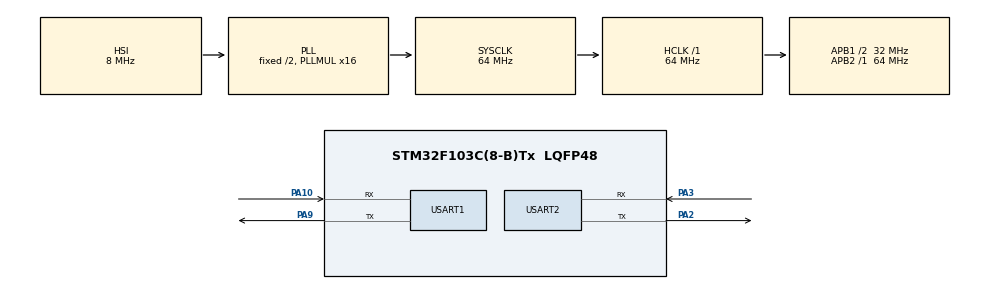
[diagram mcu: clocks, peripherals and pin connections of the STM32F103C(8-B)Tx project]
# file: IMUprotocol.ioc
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Mcu.Family=STM32F1
Mcu.Name=STM32F103C(8-B)Tx
Mcu.Package=LQFP48
NVIC.PriorityGroup=NVIC_PRIORITYGROUP_4
NVIC.TIM1_UP_IRQn=true\:0\:0\:false\:false\:true\:true\:true\:true
NVIC.USART1_IRQn=true\:2\:0\:true\:false\:true\:true\:true\:true
NVIC.USART2_IRQn=true\:1\:0\:true\:false\:true\:true\:true\:true
PA10.Mode=Asynchronous
PA10.Signal=USART1_RX
PA13.Mode=Serial_Wire
PA13.Signal=SYS_JTMS-SWDIO
PA14.Mode=Serial_Wire
PA14.Signal=SYS_JTCK-SWCLK
PA2.Mode=Asynchronous
PA2.Signal=USART2_TX
PA3.Mode=Asynchronous
PA3.Signal=USART2_RX
PA9.Mode=Asynchronous
PA9.Signal=USART1_TX
PD0-OSC_IN.Mode=HSE-External-Oscillator
PD0-OSC_IN.Signal=RCC_OSC_IN
PD1-OSC_OUT.Mode=HSE-External-Oscillator
PD1-OSC_OUT.Signal=RCC_OSC_OUT
ProjectManager.HeapSize=0x200
ProjectManager.StackSize=0x400
ProjectManager.TargetToolchain=MDK-ARM V5.32
RCC.AHBFreq_Value=64000000
RCC.APB1CLKDivider=RCC_HCLK_DIV2
RCC.APB1Freq_Value=32000000
RCC.APB1TimFreq_Value=64000000
RCC.APB2Freq_Value=64000000
RCC.APB2TimFreq_Value=64000000
RCC.HCLKFreq_Value=64000000
RCC.PLLMUL=RCC_PLL_MUL16
RCC.SYSCLKFreq_VALUE=64000000
RCC.SYSCLKSource=RCC_SYSCLKSOURCE_PLLCLK
RCC.USBFreq_Value=64000000
TIM1.Period=9999
TIM1.Prescaler=6399
USART1.VirtualMode=VM_ASYNC
USART2.VirtualMode=VM_ASYNC
VP_TIM1_VS_ClockSourceINT.Mode=Internal
board=custom

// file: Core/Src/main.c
/* USER CODE BEGIN Header */
/**
  ******************************************************************************
  * @file           : main.c
  * @brief          : Main program body
  ******************************************************************************
  * @attention
  *
  * Copyright (c) 2024 STMicroelectronics.
  * All rights reserved.
  *
  * This software is licensed under terms that can be found in the LICENSE file
  * in the root directory of this software component.
  * If no LICENSE file comes with this software, it is provided AS-IS.
  *
  ******************************************************************************
  */
/* USER CODE END Header */
#include "main.h"

/* USER CODE BEGIN Includes */
#include <string.h>
#include "string.h"
#include "stdio.h"
#include "IMU.h"
/* USER CODE END Includes */

TIM_HandleTypeDef htim1;

UART_HandleTypeDef huart1;
UART_HandleTypeDef huart2;

void SystemClock_Config(void);
static void MX_GPIO_Init(void);
static void MX_USART1_UART_Init(void);
static void MX_USART2_UART_Init(void);
static void MX_TIM1_Init(void);

/* USER CODE BEGIN 0 */

#define DATA_LENGTH 33
#define START_BYTE 0x55

uint8_t dataRx;
uint8_t dataBuffer[DATA_LENGTH];
uint8_t index = 0;
extern float axisAcc[3];
extern float axisAngVel[3];
extern float axisAng[3];

volatile uint8_t uartReadyToSend = 0;
char uartDataToSend[256];

void sendUART(const char* data) {
    strncpy(uartDataToSend, data, sizeof(uartDataToSend) - 1);
    uartDataToSend[sizeof(uartDataToSend) - 1] = '\0';
    uartReadyToSend = 1;
}

void sendCommandSequence() {
    uint8_t unlock[] = {0xFF, 0xAA, 0x69, 0x88, 0xB5};
    uint8_t command[] = {0xFF, 0xAA, 0x01, 0x04, 0x00};
    uint8_t save[] = {0xFF, 0xAA, 0x00, 0x00, 0x00};

    // Step 1: Unlock
    HAL_UART_Transmit(&huart1, unlock, sizeof(unlock), 100);

    // Step 2: Send the command
    HAL_UART_Transmit(&huart1, command, sizeof(command), 100);

    // Step 3: Save
    HAL_UART_Transmit(&huart1, save, sizeof(save), 100);
}

// Nhan 33 byte, gom 11x3 byte cua gia toc, van toc goc va goc
void HAL_UART_RxCpltCallback(UART_HandleTypeDef *huart)
{
    // Chi nhan tin hieu tu cong UART1
    if (huart == &huart1)
    {
        // Kiem tra byte dau tien
        if (index == 0 && dataRx != START_BYTE)
        {
            // Neu byte dau tien khong phai la 0x55, nhan lai tu dau
            HAL_UART_Receive_IT(&huart1, &dataRx, 1);
            return;
        }
        // Luu du lieu vаo bo dem
        dataBuffer[index++] = dataRx;
        // Neu nhan du 33 byte
        if (index == DATA_LENGTH)
        {
            // Thuc hien xu ly du lieu o day
						dataHandle(dataBuffer);
            // Рat lai index de bat dau nhan du lieu moi
            index = 0;
        }
        // Tiep tuc nhan byte du lieu moi
        HAL_UART_Receive_IT(&huart1, &dataRx, 1);
    } else if (huart == &huart2)
		{
			//nhan lenh R thi gui lenh reset
				if (dataRx == 'R') {
            sendCommandSequence();
        }
        HAL_UART_Receive_IT(&huart2, &dataRx, 1); // Nhan byte tiep theo
    }
}

// Moi khi co update interrupt thi se gui chuoi bao gom 8 thong so
void HAL_TIM_PeriodElapsedCallback(TIM_HandleTypeDef *htim) {
    if (htim->Instance == TIM1) {
        if (uartReadyToSend) {
            HAL_UART_Transmit_IT(&huart2, (uint8_t*)uartDataToSend, strlen(uartDataToSend));
            uartReadyToSend = 0;
        } else {
            char output[256];
            snprintf(output, sizeof(output),
                "Acceleration X: %.4f\nAcceleration Y: %.4f\nAcceleration Z: %.4f\n"
                "Angular velocity X: %.4f\nAngular velocity Y: %.4f\nAngular velocity Z: %.4f\n"
                "Angle X: %.4f\nAngle Y: %.4f\nAngle Z: %.4f\n",
                axisAcc[0], axisAcc[1], axisAcc[2],
                axisAngVel[0], axisAngVel[1], axisAngVel[2],
                axisAng[0], axisAng[1], axisAng[2]);
            sendUART(output);
        }
    }
}

/* USER CODE END 0 */

int main(void)
{

  /* MCU Configuration--------------------------------------------------------*/

  /* Reset of all peripherals, Initializes the Flash interface and the Systick. */
  HAL_Init();

  /* Configure the system clock */
  SystemClock_Config();

  /* Initialize all configured peripherals */
  MX_GPIO_Init();
  MX_USART1_UART_Init();
  MX_USART2_UART_Init();
  MX_TIM1_Init();
  /* USER CODE BEGIN 2 */
	HAL_TIM_Base_Start_IT(&htim1);
	HAL_UART_Receive_IT(&huart2, &dataRx, 1);
	HAL_UART_Receive_IT(&huart1 ,(uint8_t *)&dataRx, 1);
  /* USER CODE END 2 */

  /* Infinite loop */
  while (1)
  {

  }
}

void SystemClock_Config(void)
{
  RCC_OscInitTypeDef RCC_OscInitStruct = {0};
  RCC_ClkInitTypeDef RCC_ClkInitStruct = {0};

  /** Initializes the RCC Oscillators according to the specified parameters
  * in the RCC_OscInitTypeDef structure.
  */
  RCC_OscInitStruct.OscillatorType = RCC_OSCILLATORTYPE_HSI;
  RCC_OscInitStruct.HSIState = RCC_HSI_ON;
  RCC_OscInitStruct.HSICalibrationValue = RCC_HSICALIBRATION_DEFAULT;
  RCC_OscInitStruct.PLL.PLLState = RCC_PLL_ON;
  RCC_OscInitStruct.PLL.PLLSource = RCC_PLLSOURCE_HSI_DIV2;
  RCC_OscInitStruct.PLL.PLLMUL = RCC_PLL_MUL16;
  if (HAL_RCC_OscConfig(&RCC_OscInitStruct) != HAL_OK)
  {
    Error_Handler();
  }

  /** Initializes the CPU, AHB and APB buses clocks
  */
  RCC_ClkInitStruct.ClockType = RCC_CLOCKTYPE_HCLK|RCC_CLOCKTYPE_SYSCLK
                              |RCC_CLOCKTYPE_PCLK1|RCC_CLOCKTYPE_PCLK2;
  RCC_ClkInitStruct.SYSCLKSource = RCC_SYSCLKSOURCE_PLLCLK;
  RCC_ClkInitStruct.AHBCLKDivider = RCC_SYSCLK_DIV1;
  RCC_ClkInitStruct.APB1CLKDivider = RCC_HCLK_DIV2;
  RCC_ClkInitStruct.APB2CLKDivider = RCC_HCLK_DIV1;

  if (HAL_RCC_ClockConfig(&RCC_ClkInitStruct, FLASH_LATENCY_2) != HAL_OK)
  {
    Error_Handler();
  }
}

static void MX_TIM1_Init(void)
{

  TIM_ClockConfigTypeDef sClockSourceConfig = {0};
  TIM_MasterConfigTypeDef sMasterConfig = {0};

  htim1.Instance = TIM1;
  htim1.Init.Prescaler = 6399;
  htim1.Init.CounterMode = TIM_COUNTERMODE_UP;
  htim1.Init.Period = 9999;
  htim1.Init.ClockDivision = TIM_CLOCKDIVISION_DIV1;
  htim1.Init.RepetitionCounter = 0;
  htim1.Init.AutoReloadPreload = TIM_AUTORELOAD_PRELOAD_DISABLE;
  if (HAL_TIM_Base_Init(&htim1) != HAL_OK)
  {
    Error_Handler();
  }
  sClockSourceConfig.ClockSource = TIM_CLOCKSOURCE_INTERNAL;
  if (HAL_TIM_ConfigClockSource(&htim1, &sClockSourceConfig) != HAL_OK)
  {
    Error_Handler();
  }
  sMasterConfig.MasterOutputTrigger = TIM_TRGO_RESET;
  sMasterConfig.MasterSlaveMode = TIM_MASTERSLAVEMODE_DISABLE;
  if (HAL_TIMEx_MasterConfigSynchronization(&htim1, &sMasterConfig) != HAL_OK)
  {
    Error_Handler();
  }

}

static void MX_USART1_UART_Init(void)
{

  huart1.Instance = USART1;
  huart1.Init.BaudRate = 115200;
  huart1.Init.WordLength = UART_WORDLENGTH_8B;
  huart1.Init.StopBits = UART_STOPBITS_1;
  huart1.Init.Parity = UART_PARITY_NONE;
  huart1.Init.Mode = UART_MODE_TX_RX;
  huart1.Init.HwFlowCtl = UART_HWCONTROL_NONE;
  huart1.Init.OverSampling = UART_OVERSAMPLING_16;
  if (HAL_UART_Init(&huart1) != HAL_OK)
  {
    Error_Handler();
  }

}

static void MX_USART2_UART_Init(void)
{

  huart2.Instance = USART2;
  huart2.Init.BaudRate = 115200;
  huart2.Init.WordLength = UART_WORDLENGTH_8B;
  huart2.Init.StopBits = UART_STOPBITS_1;
  huart2.Init.Parity = UART_PARITY_NONE;
  huart2.Init.Mode = UART_MODE_TX_RX;
  huart2.Init.HwFlowCtl = UART_HWCONTROL_NONE;
  huart2.Init.OverSampling = UART_OVERSAMPLING_16;
  if (HAL_UART_Init(&huart2) != HAL_OK)
  {
    Error_Handler();
  }

}

static void MX_GPIO_Init(void)
{

  /* GPIO Ports Clock Enable */
  __HAL_RCC_GPIOD_CLK_ENABLE();
  __HAL_RCC_GPIOA_CLK_ENABLE();

}

void Error_Handler(void)
{
  __disable_irq();
  while (1)
  {
  }
}
